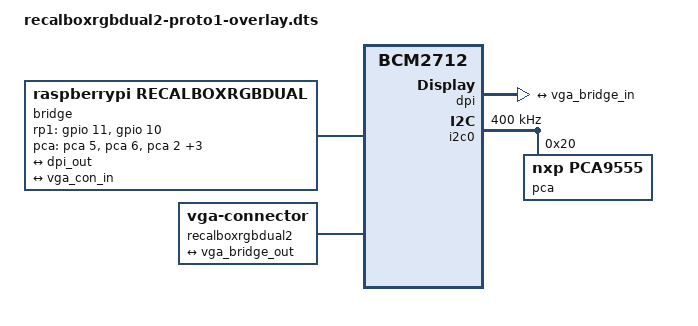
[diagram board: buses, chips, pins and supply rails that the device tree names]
/dts-v1/;
/plugin/;

/ {
    compatible = "brcm,bcm2712";
    fragment@0 {
        target = <&gpio>;
        __overlay__ {
            rp1_gpio: rp1_gpio_conf {
                brcm,pins = <11 10>; // 11 = #RGB_BLANKING, 10 = DAC_ENABLE
                brcm,function = <1>; // OUT
                brcm,pull = <0>;
            };
        };
    };
    fragment@1 {
        target-path = "/";
        __overlay__ {

            bridge: recalboxrgbdual2 {
                compatible = "raspberrypi,recalboxrgbdual";
                #address-cells = <1>;
                #size-cells = <0>;

                vc4-vga666-mode = <6>;
                recalbox-rgb-dual-2 = <1>;
                // Remove for proto 2
                avoid_interlaced = <1>;

                rp1-gpios = <&gpio 11 0>,<&gpio 10 0>;
                pca-gpios = <&pca 5 0>,<&pca 6 0>,<&pca 2 0>,<&pca 3 0>,<&pca 4 0>,<&pca 14 0>;
                pinctrl-0 = <&rp1_gpio>;
                pinctrl-names = "default";

                ports {
                    #address-cells = <1>;
                    #size-cells = <0>;

                    port@0 {
                        reg = <0>;
                        vga_bridge_in: endpoint {
                            remote-endpoint = <&dpi_out>;
                        };
                    };

                    port@1 {
                        reg = <1>;
                        vga_bridge_out: endpoint {
                            remote-endpoint = <&vga_con_in>;
                        };
                    };
                };
            };

            vga {
                compatible = "vga-connector";
                label = "recalboxrgbdual2";
                port {
                    vga_con_in: endpoint {
                        remote-endpoint = <&vga_bridge_out>;
                    };
                };
            };
        };
    };

    fragment@2 {
        target = <&dpi>;
        __overlay__  {
            // Not enabled by default, see rgbdualvideo.dtbo
            //status = "okay";
            pinctrl-names = "default";
            pinctrl-0 = <&vga666_mode6_pins>;
            port {
                dpi_out: endpoint@0 {
                    remote-endpoint = <&vga_bridge_in>;
                };
            };
        };
    };

    fragment@3 {
        target = <&gpio>;
        __overlay__ {
            vga666_mode6_pins: vga666_mode6_pins {
                brcm,pins = <2 3 4 5 6 7 8 9 12 13 14
                         15 16 17 20 21 22 23 24 25>;
                brcm,function = <6>;
                brcm,pull = <0>;
            };
        };
    };


    // I2S audio
    fragment@100 {
        target = <&rp1_gpio>;
        __overlay__ {
            rp1_i2s0_dual: rp1_i2s0_dual {
                function = "i2s0";
                pins = "gpio18", "gpio19", "gpio27";
                bias-disable;
            };
        };
    };
    fragment@101 {
        target = <&i2s_clk_producer>;
        __overlay__ {
            pinctrl-names = "default";
            pinctrl-0 = <&rp1_i2s0_dual>;
            status = "okay";
        };
    };


    fragment@102 {
        target = <&sound>;
        __overlay__ {
            compatible = "simple-audio-card";
            simple-audio-card,name = "Recalbox RGB DUAL 2";
            status = "okay";
            simple-audio-card,dai-link@1 {
                format = "i2s";
                cpu {
                    sound-dai = <&i2s_clk_producer>;
                    dai-tdm-slot-num = <2>;
                    dai-tdm-slot-width = <32>;
                };
                codec {
                    sound-dai = <&codec_out>;
                };
            };
        };
    };

    fragment@103 {
        target-path = "/";
        __overlay__ {
            codec_out: recalbox_i2s {
                #sound-dai-cells = <0>;
                compatible = "recalbox_i2s";
                status = "okay";
            };
        };
    };

    fragment@104 {
        target = <&i2s_clk_producer>;
        __overlay__ {
            #sound-dai-cells = <0>;
            status = "okay";
        };
    };

    // Config Chip
    fragment@200 {
        target = <&i2c0>;
        __overlay__ {
            #address-cells = <1>;
            #size-cells = <0>;
            status = "okay";
            pinctrl-names = "default";
            pinctrl-0 = <&rp1_i2c0_0_1>;
            clock-frequency = <400000>;
            read-timeout-ms = <50>;

            pca: pca@20 {
                compatible = "nxp,pca9555";
                reg = <0x20>;
                gpio-controller;
                #gpio-cells = <2>;
                status = "okay";
            };
        };
    };
};
